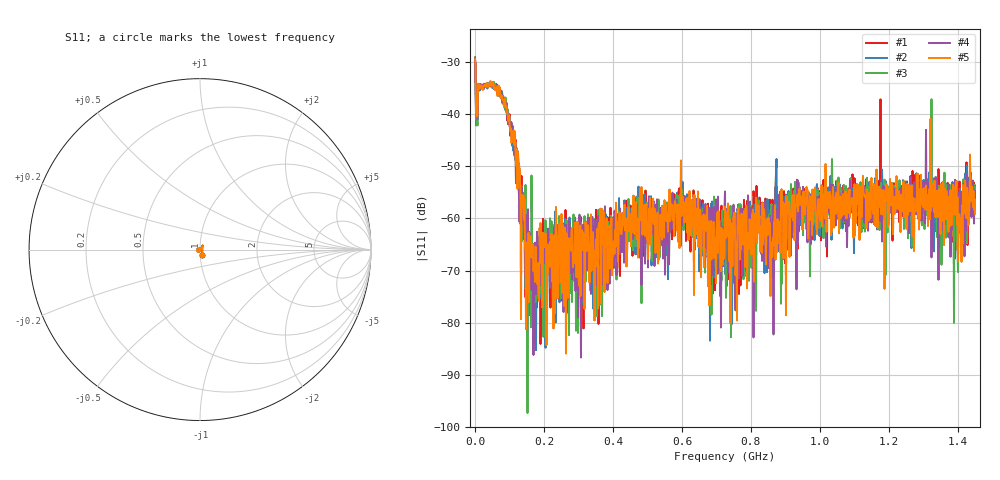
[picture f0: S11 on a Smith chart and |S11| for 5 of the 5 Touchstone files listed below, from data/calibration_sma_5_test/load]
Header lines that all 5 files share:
! Created with skrf 1.11.0 (http://scikit-rf.org).
# Hz S RI R 50.0
!freq ReS11 ImS11
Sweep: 50 kHz to 1.45 GHz
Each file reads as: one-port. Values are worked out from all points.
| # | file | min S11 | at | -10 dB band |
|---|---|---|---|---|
| 1 | test_1.s1p | -84.1 dB | 190 MHz | over 1.45 GHz wide |
| 2 | test_2.s1p | -85.3 dB | 176.9 MHz | over 1.45 GHz wide |
| 3 | test_3.s1p | -97.3 dB | 152.3 MHz | over 1.45 GHz wide |
| 4 | test_4.s1p | -86.7 dB | 307.4 MHz | over 1.45 GHz wide |
| 5 | test_5.s1p | -86.0 dB | 263.9 MHz | over 1.45 GHz wide |
